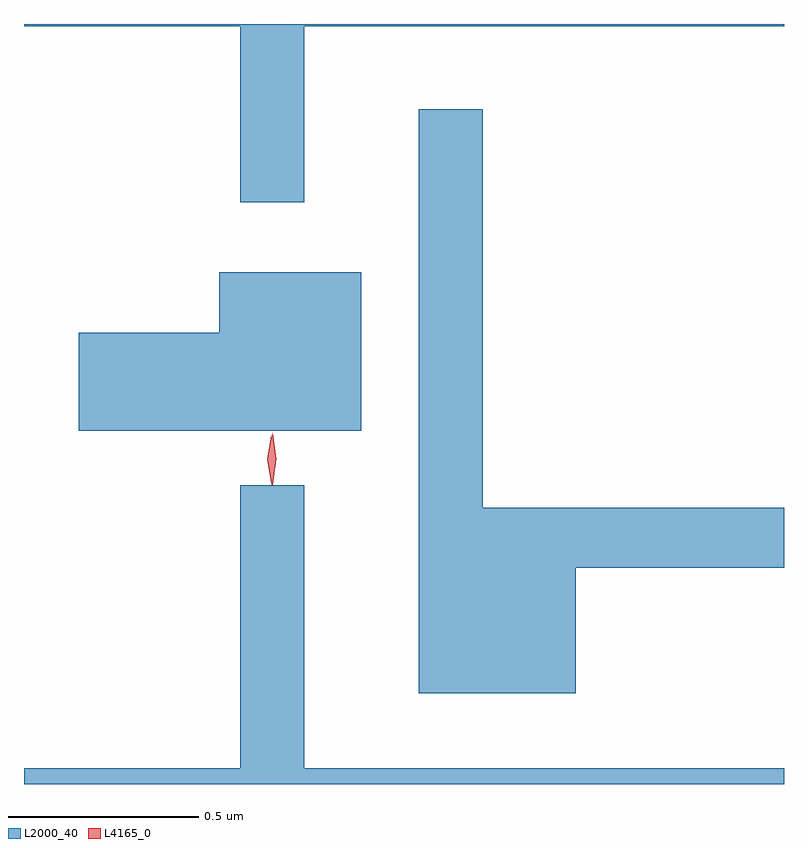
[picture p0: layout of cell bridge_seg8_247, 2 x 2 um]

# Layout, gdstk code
import gdstk
lib = gdstk.Library(unit=1e-6, precision=1e-09)
def P(c, l, *ps):  # polygons
    for p in ps: c.add(gdstk.Polygon(p, *l))
L2000_40 = (2000, 40)
L4165_0 = (4165, 0)

bridge_seg8_247 = lib.new_cell('bridge_seg8_247')
P(bridge_seg8_247, L2000_40, [(1054.309,1867.496),(1055.572,1867.496),(1055.572,1867.502),(1053.572,1867.502),(1053.572,1867.496),(1054.141,1867.496),(1054.141,1867.033),(1054.309,1867.033)],
  [(1055.024,1866.071),(1055.572,1866.071),(1055.572,1866.229),(1054.779,1866.229),(1054.779,1867.278),(1054.611,1867.278),(1054.611,1865.741),(1055.024,1865.741)],
  [(1054.459,1866.849),(1054.086,1866.849),(1054.086,1866.689),(1053.716,1866.689),(1053.716,1866.431),(1054.459,1866.431)],
  [(1055.572,1865.544),(1054.309,1865.544),(1054.309,1866.288),(1054.141,1866.288),(1054.141,1865.544),(1053.572,1865.544),(1053.572,1865.502),(1055.572,1865.502)])
P(bridge_seg8_247, L4165_0, [(1054.222,1866.293),(1054.222,1866.293),(1054.212,1866.356),(1054.222,1866.419),(1054.222,1866.42),(1054.222,1866.419),(1054.232,1866.356),(1054.222,1866.293)],
  [(1054.224,1866.29),(1054.216,1866.358),(1054.226,1866.425),(1054.226,1866.426),(1054.227,1866.425),(1054.236,1866.358),(1054.226,1866.29),(1054.225,1866.29)])

lib.write_gds('bridge_seg8_247.gds')
